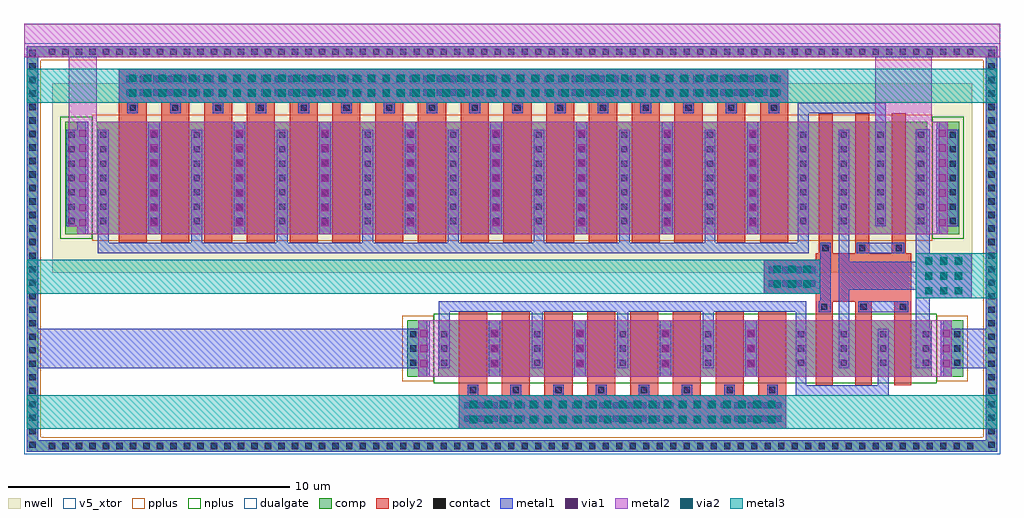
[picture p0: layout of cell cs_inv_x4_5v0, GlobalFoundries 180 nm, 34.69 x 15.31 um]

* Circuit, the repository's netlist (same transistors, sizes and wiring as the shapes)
** sch_path: /home/noritsuna/vco/cs_inv_x4_5v0.sch
.subckt cs_inv_x4_5v0 A Y VBP VDD VBN VSS
*.PININFO A:I Y:O VBP:I VDD:B VBN:I VSS:B
MPC NP VBP VDD VDD pfet_05v0 L=1u W=64u nf=1
MP Y A NP VDD pfet_05v0 L=0.50u W=12u nf=1
MN Y A NN VSS nfet_05v0 L=0.60u W=6u nf=1
MNC NN VBN VSS VSS nfet_05v0 L=1u W=16u nf=1
.ends

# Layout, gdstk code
from math import pi, radians
import gdstk
lib = gdstk.Library(unit=1e-6, precision=1e-09)
def R(c, l, rs):  # rectangles x0, y0, x1, y1
    for r in rs: c.add(gdstk.rectangle(r[:2], r[2:], *l))
def A(c, l, x, y, w, h, nx, ny, dx, dy):  # array of equal rectangles
    R(c, l, [(x+i*dx, y+j*dy, x+i*dx+w, y+j*dy+h) for i in range(nx) for j in range(ny)])
nwell = (21, 0)
comp = (22, 0)
poly2 = (30, 0)
pplus = (31, 0)
nplus = (32, 0)
contact = (33, 0)
metal1 = (34, 0)
via1 = (35, 0)
metal2 = (36, 0)
via2 = (38, 0)
metal3 = (42, 0)
dualgate = (55, 0)
v5_xtor = (112, 1)

pfet_3 = lib.new_cell('pfet$3')
R(pfet_3, nwell, [(-1.24,-0.91,25.66,5.29)])
R(pfet_3, comp, [(-0.46,0,24.88,4)])
A(pfet_3, poly2, 0.31, -0.3, 1, 4.98, 16, 1, 1.52, 0)
R(pfet_3, pplus, [(-0.63,-0.24,25.05,4.24)])
A(pfet_3, contact, -0.34, 0.36, 0.22, 0.22, 1, 7, 0, 0.51)
A(pfet_3, contact, 1.46, 0.36, 0.22, 0.22, 15, 7, 1.52, 0.51)
A(pfet_3, contact, 24.54, 0.36, 0.22, 0.22, 1, 7, 0, 0.51)
A(pfet_3, contact, 0.7, 4.38, 0.22, 0.22, 16, 1, 1.52, 0)
A(pfet_3, metal1, 1.38, 0.28, 0.38, 3.44, 15, 1, 1.52, 0)
A(pfet_3, metal1, 0.62, 4.3, 0.38, 0.38, 16, 1, 1.52, 0)
R(pfet_3, metal1, [(-0.42,0.28,-0.04,3.72), (24.46,0.28,24.84,3.72)])
R(pfet_3, dualgate, [(-1.74,-1.41,26.16,5.79)])
R(pfet_3, v5_xtor, [(-1.74,-1.41,26.16,5.79)])

pfet_4 = lib.new_cell('pfet$4')
R(pfet_4, nwell, [(-1.24,-1.29,4.96,4.91)])
R(pfet_4, comp, [(-0.46,0,4.18,4)])
A(pfet_4, poly2, 0.31, -0.68, 0.5, 4.98, 3, 1, 1.3, 0)
R(pfet_4, pplus, [(-0.63,-0.24,4.35,4.24)])
A(pfet_4, contact, 0.45, -0.6, 0.22, 0.22, 3, 1, 1.3, 0)
A(pfet_4, contact, -0.34, 0.36, 0.22, 0.22, 1, 7, 0, 0.51)
A(pfet_4, contact, 1.1, 0.36, 0.22, 0.22, 1, 7, 0, 0.51)
A(pfet_4, contact, 2.4, 0.36, 0.22, 0.22, 1, 7, 0, 0.51)
A(pfet_4, contact, 3.84, 0.36, 0.22, 0.22, 1, 7, 0, 0.51)
A(pfet_4, metal1, 0.37, -0.68, 0.38, 0.38, 3, 1, 1.3, 0)
R(pfet_4, metal1, [(-0.42,0.28,-0.04,3.72), (1.02,0.28,1.4,3.72), (2.32,0.28,2.7,3.72), (3.76,0.28,4.14,3.72)])
R(pfet_4, dualgate, [(-1.74,-1.79,5.46,5.41)])
R(pfet_4, v5_xtor, [(-1.74,-1.79,5.46,5.41)])

via_dev = lib.new_cell('via_dev')
R(via_dev, metal1, [(0,0,0.4,4)])
A(via_dev, via1, 0.07, 0.28, 0.26, 0.26, 1, 7, 0, 0.53)
R(via_dev, metal2, [(0,0,0.4,4)])

nfet_2 = lib.new_cell('nfet$2')
R(nfet_2, comp, [(-0.42,0,4.44,2)])
A(nfet_2, poly2, 0.31, -0.3, 0.6, 2.96, 3, 1, 1.4, 0)
R(nfet_2, nplus, [(-0.59,-0.24,4.61,2.24)])
A(nfet_2, contact, -0.32, 0.38, 0.22, 0.22, 1, 3, 0, 0.51)
A(nfet_2, contact, 1.2, 0.38, 0.22, 0.22, 1, 3, 0, 0.51)
A(nfet_2, contact, 2.6, 0.38, 0.22, 0.22, 1, 3, 0, 0.51)
A(nfet_2, contact, 4.12, 0.38, 0.22, 0.22, 1, 3, 0, 0.51)
A(nfet_2, contact, 0.5, 2.37, 0.22, 0.22, 3, 1, 1.4, 0)
A(nfet_2, metal1, 0.42, 2.29, 0.38, 0.38, 3, 1, 1.4, 0)
R(nfet_2, metal1, [(-0.4,0.3,-0.02,1.7), (1.12,0.3,1.5,1.7), (2.52,0.3,2.9,1.7), (4.04,0.3,4.42,1.7)])
R(nfet_2, dualgate, [(-0.84,-0.71,4.86,3.08)])
R(nfet_2, v5_xtor, [(-0.84,-0.71,4.86,3.08)])

nfet_3 = lib.new_cell('nfet$3')
R(nfet_3, comp, [(-0.42,0,12.68,2)])
A(nfet_3, poly2, 0.31, -0.66, 1, 2.96, 8, 1, 1.52, 0)
R(nfet_3, nplus, [(-0.59,-0.24,12.85,2.24)])
A(nfet_3, contact, 0.7, -0.59, 0.22, 0.22, 8, 1, 1.52, 0)
A(nfet_3, contact, -0.32, 0.38, 0.22, 0.22, 1, 3, 0, 0.51)
A(nfet_3, contact, 1.46, 0.38, 0.22, 0.22, 7, 3, 1.52, 0.51)
A(nfet_3, contact, 12.36, 0.38, 0.22, 0.22, 1, 3, 0, 0.51)
A(nfet_3, metal1, 0.62, -0.67, 0.38, 0.38, 8, 1, 1.52, 0)
A(nfet_3, metal1, 1.38, 0.3, 0.38, 1.4, 7, 1, 1.52, 0)
R(nfet_3, metal1, [(-0.4,0.3,-0.02,1.7), (12.28,0.3,12.66,1.7)])
R(nfet_3, dualgate, [(-0.84,-1.08,13.1,2.71)])
R(nfet_3, v5_xtor, [(-0.84,-1.08,13.1,2.71)])

via_dev_4 = lib.new_cell('via_dev$4')
R(via_dev_4, poly2, [(0,0,2,1.2)])
A(via_dev_4, contact, 0.17, 0.25, 0.22, 0.22, 4, 2, 0.48, 0.48)
R(via_dev_4, metal1, [(0,0,2,1.2)])
A(via_dev_4, via1, 0.34, 0.205, 0.26, 0.26, 3, 2, 0.53, 0.53)
R(via_dev_4, metal2, [(0,0,2,1.2)])
A(via_dev_4, via2, 0.34, 0.205, 0.26, 0.26, 3, 2, 0.53, 0.53)
R(via_dev_4, metal3, [(0,0,2,1.2)])

via_dev_2 = lib.new_cell('via_dev$2')
R(via_dev_2, poly2, [(0,0,23.8,1.2)])
A(via_dev_2, contact, 0.27, 0.25, 0.22, 0.22, 49, 2, 0.48, 0.48)
R(via_dev_2, metal1, [(0,0,23.8,1.2)])
A(via_dev_2, via1, 0.375, 0.205, 0.26, 0.26, 44, 2, 0.53, 0.53)
R(via_dev_2, metal2, [(0,0,23.8,1.2)])
A(via_dev_2, via2, 0.375, 0.205, 0.26, 0.26, 44, 2, 0.53, 0.53)
R(via_dev_2, metal3, [(0,0,23.8,1.2)])

via_dev_5 = lib.new_cell('via_dev$5')
R(via_dev_5, metal1, [(0,0,0.4,2)])
A(via_dev_5, via1, 0.07, 0.34, 0.26, 0.26, 1, 3, 0, 0.53)
R(via_dev_5, metal2, [(0,0,0.4,2)])

via_dev_7 = lib.new_cell('via_dev$7')
R(via_dev_7, poly2, [(0,0,11.64,1.2)])
A(via_dev_7, contact, 0.19, 0.25, 0.22, 0.22, 24, 2, 0.48, 0.48)
R(via_dev_7, metal1, [(0,0,11.64,1.2)])
A(via_dev_7, via1, 0.39, 0.205, 0.26, 0.26, 21, 2, 0.53, 0.53)
R(via_dev_7, metal2, [(0,0,11.64,1.2)])
A(via_dev_7, via2, 0.39, 0.205, 0.26, 0.26, 21, 2, 0.53, 0.53)
R(via_dev_7, metal3, [(0,0,11.64,1.2)])

via_dev_12 = lib.new_cell('via_dev$12')
R(via_dev_12, comp, [(0,0,0.4,14.41)])
A(via_dev_12, contact, 0.09, 0.135, 0.22, 0.22, 1, 30, 0, 0.48)
R(via_dev_12, metal1, [(0,0,0.4,14.41)])

via_dev_14 = lib.new_cell('via_dev$14')
R(via_dev_14, comp, [(0,0,33.43,0.4)])
A(via_dev_14, contact, 0.285, 0.09, 0.22, 0.22, 69, 1, 0.48, 0)
R(via_dev_14, metal1, [(0,0,33.43,0.4)])

via_dev_13 = lib.new_cell('via_dev$13')
R(via_dev_13, metal1, [(0,0,2,1.6)])
A(via_dev_13, via1, 0.34, 0.14, 0.26, 0.26, 3, 3, 0.53, 0.53)
R(via_dev_13, metal2, [(0,0,2,1.6)])
A(via_dev_13, via2, 0.34, 0.14, 0.26, 0.26, 3, 3, 0.53, 0.53)
R(via_dev_13, metal3, [(0,0,2,1.6)])

cs_inv_x4_5v0 = lib.new_cell('cs_inv_x4_5v0')
R(cs_inv_x4_5v0, nwell, [(0.11,4.465,32.81,11.205)])
R(cs_inv_x4_5v0, comp, [(-0.39,-1.89,-0.29,-1.49), (33.14,-1.89,33.3,-1.49), (12.73,0.775,13.44,2.775), (31.78,0.775,32.49,2.775), (0.57,5.835,1.3,9.835), (31.62,5.835,32.35,9.835), (-0.39,12.12,-0.29,12.52), (33.14,12.12,33.3,12.52)])
R(cs_inv_x4_5v0, poly2, [(27.25,3.435,30.65,5.155)])
R(cs_inv_x4_5v0, pplus, [(12.56,0.605,13.67,2.945), (31.55,0.605,32.66,2.945)])
R(cs_inv_x4_5v0, nplus, [(0.4,5.665,1.53,10.005), (31.39,5.665,32.52,10.005)])
A(cs_inv_x4_5v0, contact, 12.83, 1.155, 0.22, 0.22, 1, 3, 0, 0.51)
A(cs_inv_x4_5v0, contact, 32.17, 1.155, 0.22, 0.22, 1, 3, 0, 0.51)
A(cs_inv_x4_5v0, contact, 0.69, 6.195, 0.22, 0.22, 1, 7, 0, 0.51)
A(cs_inv_x4_5v0, contact, 32.01, 6.195, 0.22, 0.22, 1, 7, 0, 0.51)
R(cs_inv_x4_5v0, metal1, [(-0.39,-1.89,-0.29,-1.49), (33.14,-1.89,33.3,-1.49), (-0.605,1.075,13.15,2.475), (12.75,1.075,13.53,2.475), (30.8,1.075,31.295,9.56), (31.69,1.075,32.47,2.475), (32.07,1.075,33.48,2.475), (28.76,3.065,30.54,3.445), (28.71,5.155,30.39,5.54), (0.61,6.115,1.39,9.555), (31.53,6.115,32.31,9.555), (-0.39,12.12,-0.29,12.52), (33.14,12.12,33.3,12.52)])
R(cs_inv_x4_5v0, metal2, [(13.13,0.775,32.09,2.775), (1,5.835,31.95,9.835)])
R(cs_inv_x4_5v0, metal3, [(-0.79,-1.085,33.7,0.115), (32.8,3.555,33.7,5.155), (-0.79,3.725,25.41,4.925), (-0.79,10.515,33.7,11.715)])
R(cs_inv_x4_5v0, dualgate, [(-0.89,-1.99,33.8,12.625)])
R(cs_inv_x4_5v0, v5_xtor, [(-0.89,-1.99,33.8,12.625)])
cs_inv_x4_5v0.add(gdstk.FlexPath([(28.25,6.285),(28.25,2.075)], 0.38, ends="flush", simple_path=True, layer=34, datatype=0))  # metal1
cs_inv_x4_5v0.add(gdstk.FlexPath([(26.81,9.255),(26.81,10.325),(29.55,10.325),(29.55,9.425)], 0.38, ends="flush", simple_path=True, layer=34, datatype=0))  # metal1
cs_inv_x4_5v0.add(gdstk.FlexPath([(26.73,1.375),(26.73,0.285),(29.65,0.285),(29.65,1.315)], 0.38, ends="flush", simple_path=True, layer=34, datatype=0))  # metal1
cs_inv_x4_5v0.add(gdstk.FlexPath([(26.73,2.3),(26.73,3.265),(23.43,3.265),(23.43,2.18)], 0.38, ends="flush", simple_path=True, layer=34, datatype=0))  # metal1
cs_inv_x4_5v0.add(gdstk.FlexPath([(23.43,2.18),(23.43,3.265),(20.39,3.265),(20.39,2.175)], 0.38, ends="flush", simple_path=True, layer=34, datatype=0))  # metal1
cs_inv_x4_5v0.add(gdstk.FlexPath([(20.39,2.18),(20.39,3.265),(17.35,3.265),(17.35,2.175)], 0.38, ends="flush", simple_path=True, layer=34, datatype=0))  # metal1
cs_inv_x4_5v0.add(gdstk.FlexPath([(17.35,2.18),(17.35,3.265),(14.05,3.265),(14.05,2.175)], 0.38, ends="flush", simple_path=True, layer=34, datatype=0))  # metal1
cs_inv_x4_5v0.add(gdstk.FlexPath([(23.49,6.415),(23.49,5.345),(26.81,5.345),(26.81,6.595)], 0.38, ends="flush", simple_path=True, layer=34, datatype=0))  # metal1
cs_inv_x4_5v0.add(gdstk.FlexPath([(23.49,6.415),(23.49,5.345),(20.45,5.345),(20.45,6.415)], 0.38, ends="flush", simple_path=True, layer=34, datatype=0))  # metal1
cs_inv_x4_5v0.add(gdstk.FlexPath([(20.45,6.415),(20.45,5.345),(17.41,5.345),(17.41,6.415)], 0.38, ends="flush", simple_path=True, layer=34, datatype=0))  # metal1
cs_inv_x4_5v0.add(gdstk.FlexPath([(17.41,6.415),(17.41,5.345),(14.37,5.345),(14.37,6.415)], 0.38, ends="flush", simple_path=True, layer=34, datatype=0))  # metal1
cs_inv_x4_5v0.add(gdstk.FlexPath([(14.37,6.415),(14.37,5.345),(11.33,5.345),(11.33,6.415)], 0.38, ends="flush", simple_path=True, layer=34, datatype=0))  # metal1
cs_inv_x4_5v0.add(gdstk.FlexPath([(11.33,6.415),(11.33,5.345),(8.29,5.345),(8.29,6.415)], 0.38, ends="flush", simple_path=True, layer=34, datatype=0))  # metal1
cs_inv_x4_5v0.add(gdstk.FlexPath([(8.29,6.415),(8.29,5.345),(5.25,5.345),(5.25,6.415)], 0.38, ends="flush", simple_path=True, layer=34, datatype=0))  # metal1
cs_inv_x4_5v0.add(gdstk.FlexPath([(5.25,6.415),(5.25,5.345),(1.93,5.345),(1.93,6.415)], 0.38, ends="flush", simple_path=True, layer=34, datatype=0))  # metal1
cs_inv_x4_5v0.add(gdstk.FlexPath([(28.1,4.36),(30.8,4.36)], 1, ends="flush", simple_path=True, layer=34, datatype=0))  # metal1
cs_inv_x4_5v0.add(gdstk.FlexPath([(27.6,5.26),(27.6,3.065)], 0.38, ends="flush", simple_path=True, layer=34, datatype=0))  # metal1
cs_inv_x4_5v0.add(gdstk.FlexPath([(-0.89,12.72),(33.8,12.72)], 1.2, ends="flush", simple_path=True, layer=36, datatype=0))  # metal2
cs_inv_x4_5v0.add(gdstk.FlexPath([(30.37,8.04),(30.37,12.52)], 2, ends="flush", simple_path=True, layer=36, datatype=0))  # metal2
cs_inv_x4_5v0.add(gdstk.FlexPath([(1.2,6.115),(1.2,12.52)], 1, ends="flush", simple_path=True, layer=36, datatype=0))  # metal2
cs_inv_x4_5v0.add(gdstk.FlexPath([(-0.59,12.52),(-0.59,-1.69),(33.5,-1.69),(33.5,12.325),(-0.89,12.325)], 0.6, ends="flush", simple_path=True, layer=31, datatype=0))  # pplus
cs_inv_x4_5v0.add(gdstk.Reference(pfet_3, (26.58,5.835), rotation=pi, x_reflection=True))
cs_inv_x4_5v0.add(gdstk.Reference(pfet_4, (27.04,5.835)))
cs_inv_x4_5v0.add(gdstk.Reference(via_dev, (3.53,5.835)))
cs_inv_x4_5v0.add(gdstk.Reference(nfet_2, (26.94,0.775)))
cs_inv_x4_5v0.add(gdstk.Reference(nfet_3, (26.52,0.775), rotation=pi, x_reflection=True))
cs_inv_x4_5v0.add(gdstk.Reference(via_dev_4, (25.41,3.725)))
cs_inv_x4_5v0.add(gdstk.Reference(via_dev, (6.57,5.835)))
cs_inv_x4_5v0.add(gdstk.Reference(via_dev, (9.61,5.835)))
cs_inv_x4_5v0.add(gdstk.Reference(via_dev_2, (2.47,10.515)))
cs_inv_x4_5v0.add(gdstk.Reference(via_dev_5, (13.13,0.775)))
cs_inv_x4_5v0.add(gdstk.Reference(via_dev_5, (31.69,0.775)))
cs_inv_x4_5v0.add(gdstk.Reference(via_dev_7, (14.57,-1.085)))
cs_inv_x4_5v0.add(gdstk.Reference(via_dev_12, (-0.79,-1.89)))
cs_inv_x4_5v0.add(gdstk.Reference(via_dev_14, (-0.29,12.12)))
cs_inv_x4_5v0.add(gdstk.Reference(via_dev_12, (33.3,-1.89)))
cs_inv_x4_5v0.add(gdstk.Reference(via_dev_14, (-0.29,-1.89)))
cs_inv_x4_5v0.add(gdstk.Reference(via_dev_13, (30.8,3.555)))
cs_inv_x4_5v0.add(gdstk.Reference(via_dev, (1,5.835)))
cs_inv_x4_5v0.add(gdstk.Reference(via_dev_5, (15.63,0.775)))
cs_inv_x4_5v0.add(gdstk.Reference(via_dev, (12.65,5.835)))
cs_inv_x4_5v0.add(gdstk.Reference(via_dev, (15.69,5.835)))
cs_inv_x4_5v0.add(gdstk.Reference(via_dev, (18.73,5.835)))
cs_inv_x4_5v0.add(gdstk.Reference(via_dev, (21.77,5.835)))
cs_inv_x4_5v0.add(gdstk.Reference(via_dev, (24.81,5.835)))
cs_inv_x4_5v0.add(gdstk.Reference(via_dev, (31.55,5.835)))
cs_inv_x4_5v0.add(gdstk.Reference(via_dev_5, (18.67,0.775)))
cs_inv_x4_5v0.add(gdstk.Reference(via_dev_5, (21.71,0.775)))
cs_inv_x4_5v0.add(gdstk.Reference(via_dev_5, (24.75,0.775)))

lib.write_gds('cs_inv_x4_5v0.gds')
